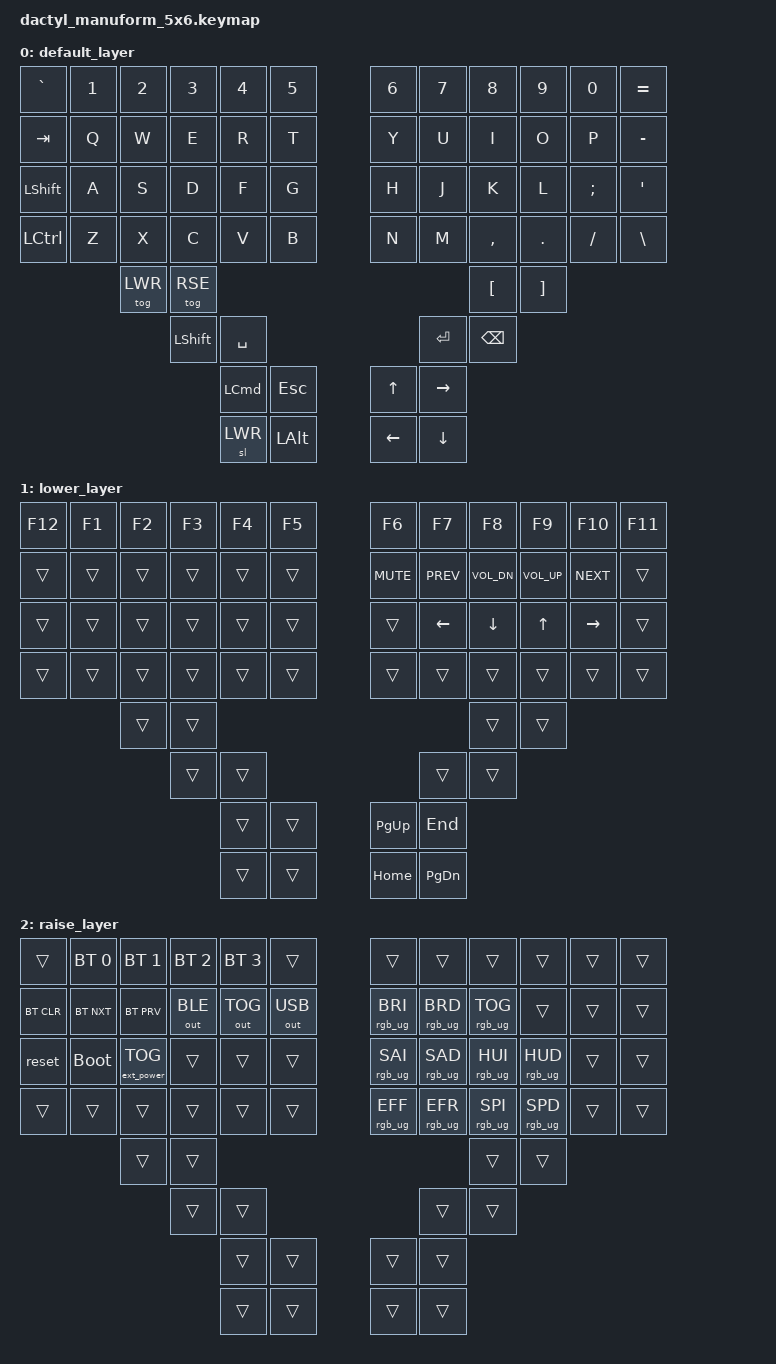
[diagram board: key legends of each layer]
#include <behaviors.dtsi>
#include <dt-bindings/zmk/keys.h>
#include <dt-bindings/zmk/bt.h>
#include <dt-bindings/zmk/outputs.h>
#include <dt-bindings/zmk/rgb.h>
#include <dt-bindings/zmk/ext_power.h>

#define DEFAULT 0
#define LWR 1
#define RSE 2

&sl {
    release-after-ms = <1000>;
};

/ {
    keymap {
        compatible = "zmk,keymap";

        default_layer {
            bindings = <
                &kp GRAVE &kp N1 &kp N2   &kp N3    &kp N4    &kp N5              &kp N6   &kp N7   &kp N8    &kp N9   &kp N0   &kp EQUAL
                &kp TAB   &kp Q  &kp W    &kp E     &kp R     &kp T               &kp Y    &kp U    &kp I     &kp O    &kp P    &kp MINUS
                &kp LSHFT &kp A  &kp S    &kp D     &kp F     &kp G               &kp H    &kp J    &kp K     &kp L    &kp SEMI &kp SQT
                &kp LCTRL &kp Z  &kp X    &kp C     &kp V     &kp B               &kp N    &kp M    &kp COMMA &kp DOT  &kp FSLH &kp BSLH
                                 &tog LWR &tog RSE                                                  &kp LBKT  &kp RBKT
                                          &kp LSHFT &kp SPACE                              &kp RET  &kp BSPC
                                                    &kp LCMD  &kp ESC             &kp UP   &kp RIGHT
                                                    &sl LWR   &kp LALT            &kp LEFT &kp DOWN
            >;
        };

        lower_layer {
            bindings = <
                &kp F12 &kp F1 &kp F2 &kp F3 &kp F4 &kp F5                &kp F6      &kp F7        &kp F8       &kp F9       &kp F10    &kp F11
                &trans  &trans &trans &trans &trans &trans                &kp K_MUTE  &kp K_PREV    &kp K_VOL_DN &kp K_VOL_UP &kp K_NEXT &trans
                &trans  &trans &trans &trans &trans &trans                &trans      &kp LEFT      &kp DOWN     &kp UP       &kp RIGHT  &trans
                &trans  &trans &trans &trans &trans &trans                &trans      &trans        &trans       &trans       &trans     &trans
                               &trans &trans                                                        &trans       &trans
                                      &trans &trans                                   &trans        &trans
                                             &trans &trans                &kp PAGE_UP &kp END
                                             &trans &trans                &kp HOME    &kp PAGE_DOWN
            >;
        };

        raise_layer {
            bindings = <
                &trans      &bt BT_SEL 0 &bt BT_SEL 1      &bt BT_SEL 2 &bt BT_SEL 3 &trans                &trans          &trans          &trans          &trans          &trans &trans
                &bt BT_CLR  &bt BT_NXT   &bt BT_PRV        &out OUT_BLE &out OUT_TOG &out OUT_USB          &rgb_ug RGB_BRI &rgb_ug RGB_BRD &rgb_ug RGB_TOG &trans          &trans &trans
                &reset      &bootloader  &ext_power EP_TOG &trans       &trans       &trans                &rgb_ug RGB_SAI &rgb_ug RGB_SAD &rgb_ug RGB_HUI &rgb_ug RGB_HUD &trans &trans
                &trans      &trans       &trans            &trans       &trans       &trans                &rgb_ug RGB_EFF &rgb_ug RGB_EFR &rgb_ug RGB_SPI &rgb_ug RGB_SPD &trans &trans
                                         &trans            &trans                                                                          &trans          &trans
                                                           &trans       &trans                                             &trans          &trans
                                                                        &trans       &trans                &trans          &trans
                                                                        &trans       &trans                &trans          &trans
            >;
        };
    };
};
